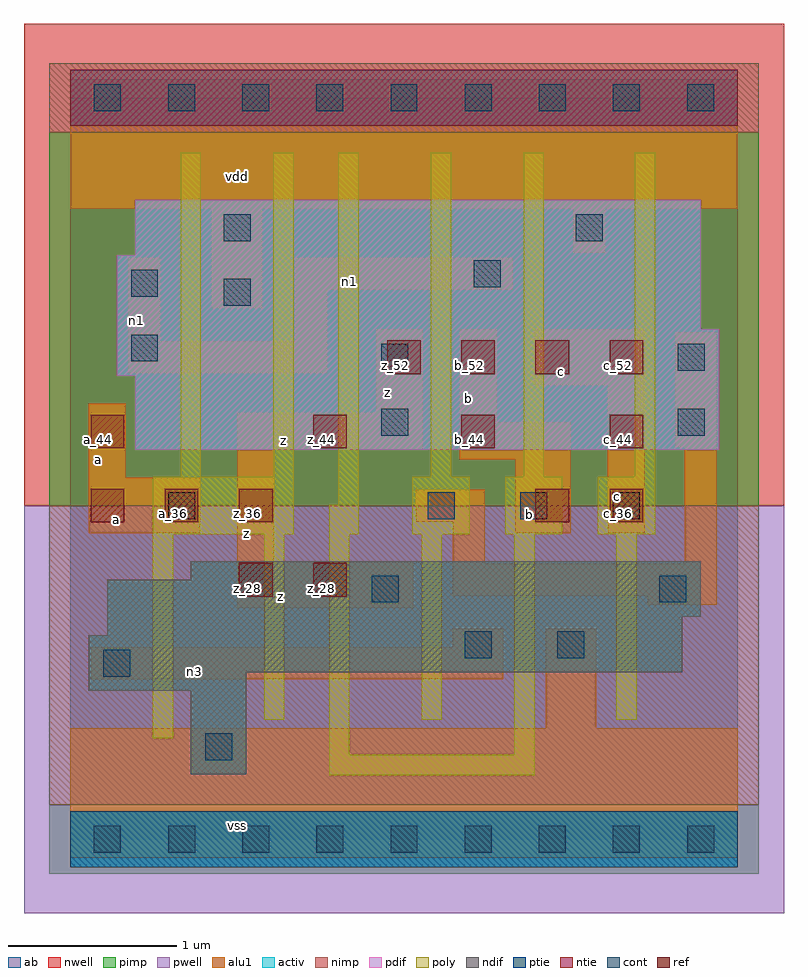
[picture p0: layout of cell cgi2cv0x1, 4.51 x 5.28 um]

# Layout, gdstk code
import gdstk
lib = gdstk.Library(unit=1e-6, precision=2.5e-09)
def R(c, l, rs):  # rectangles x0, y0, x1, y1
    for r in rs: c.add(gdstk.rectangle(r[:2], r[2:], *l))
def A(c, l, x, y, w, h, nx, ny, dx, dy):  # array of equal rectangles
    R(c, l, [(x+i*dx, y+j*dy, x+i*dx+w, y+j*dy+h) for i in range(nx) for j in range(ny)])
ndif = (3, 0)
pdif = (4, 0)
ntie = (5, 0)
ptie = (6, 0)
ref = (24, 0)
cont = (25, 0)
pwell = (41, 0)
nwell = (42, 0)
activ = (43, 0)
pimp = (44, 0)
nimp = (45, 0)
poly = (46, 0)
alu1 = (49, 0)
ab = (63, 0)

cgi2cv0x1 = lib.new_cell('cgi2cv0x1')
R(cgi2cv0x1, ndif, [(0.715,0.385,1.045,0.88), (0.11,0.88,1.045,0.99), (0.11,0.99,3.63,1.21), (0.22,1.21,3.63,1.32), (0.22,1.32,3.74,1.54), (0.715,1.54,3.74,1.65)])
R(cgi2cv0x1, pdif, [(0.385,2.31,3.85,2.75), (0.275,2.75,3.85,3.025), (0.275,3.025,3.74,3.465), (0.385,3.465,3.74,3.795)])
R(cgi2cv0x1, ntie, [(0,4.235,3.96,4.565)])
R(cgi2cv0x1, ptie, [(0,-0.165,3.96,0.165)])
A(cgi2cv0x1, ref, 0.12, 1.88, 0.2, 0.2, 3, 1, 0.44, 0)
A(cgi2cv0x1, ref, 1.44, 2.32, 0.2, 0.2, 3, 1, 0.88, 0)
A(cgi2cv0x1, ref, 1.88, 2.76, 0.2, 0.2, 4, 1, 0.44, 0)
R(cgi2cv0x1, ref, [(1,1.44,1.2,1.64), (1.44,1.44,1.64,1.64), (2.76,1.88,2.96,2.08), (3.2,1.88,3.4,2.08), (0.12,2.32,0.32,2.52)])
A(cgi2cv0x1, cont, 0.14, -0.08, 0.16, 0.16, 9, 2, 0.44, 4.4)
A(cgi2cv0x1, cont, 2.12, 1.9, 0.16, 0.16, 3, 1, 0.55, 0)
R(cgi2cv0x1, cont, [(0.8,0.47,0.96,0.63), (0.195,0.965,0.355,1.125), (2.34,1.075,2.5,1.235), (2.89,1.075,3.05,1.235), (1.79,1.405,1.95,1.565), (3.495,1.405,3.655,1.565), (0.58,1.9,0.74,2.06), (1.845,2.395,2.005,2.555), (3.605,2.395,3.765,2.555), (1.845,2.78,2.005,2.94), (3.605,2.78,3.765,2.94), (0.36,2.835,0.52,2.995), (0.91,3.165,1.07,3.325), (0.36,3.22,0.52,3.38), (2.395,3.275,2.555,3.435), (0.91,3.55,1.07,3.71), (3,3.55,3.16,3.71)])
R(cgi2cv0x1, pwell, [(-0.275,-0.44,4.235,1.98)])
R(cgi2cv0x1, nwell, [(-0.275,1.98,4.235,4.84)])
R(cgi2cv0x1, activ, [(0,-0.165,3.96,0.165), (0.715,0.385,1.045,0.88), (0.11,0.88,1.045,0.99), (0.11,0.99,3.63,1.21), (0.22,1.21,3.63,1.32), (0.22,1.32,3.74,1.54), (0.715,1.54,3.74,1.65), (0.385,2.31,3.85,2.75), (0.275,2.75,3.85,3.025), (0.275,3.025,3.74,3.465), (0.385,3.465,3.74,3.795), (0,4.235,3.96,4.565)])
R(cgi2cv0x1, pimp, [(-0.125,-0.205,4.085,0.205), (-0.125,1.98,4.085,4.195)])
R(cgi2cv0x1, nimp, [(-0.125,0.205,4.085,1.98), (-0.125,4.195,4.085,4.605)])
A(cgi2cv0x1, poly, 2.03, 1.81, 0.34, 0.34, 3, 1, 0.55, 0)
R(cgi2cv0x1, poly, [(1.535,0.38,2.755,0.5), (1.535,0.5,1.655,1.81), (2.635,0.5,2.755,1.81), (0.49,0.6,0.61,1.81), (1.15,0.71,1.27,1.81), (2.085,0.71,2.205,1.81), (3.24,0.71,3.36,1.81), (0.49,1.81,1.325,2.15), (1.535,1.81,1.71,1.985), (1.59,1.985,1.71,4.075), (0.655,2.15,0.775,4.075), (1.205,2.15,1.325,4.075), (2.14,2.15,2.26,4.075), (2.69,2.15,2.81,4.075), (3.35,2.15,3.47,4.075)])
R(cgi2cv0x1, alu1, [(0,-0.11,3.96,0.66), (2.82,0.66,3.12,1.25), (0.125,0.95,2.57,1.14), (2.27,1.14,2.57,1.25), (0.99,1.375,2.035,1.65), (3.425,1.39,3.835,1.445), (2.27,1.445,3.835,1.635), (2.27,1.635,2.46,1.885), (3.645,1.635,3.835,2.325), (0.99,1.65,1.21,2.31), (0.11,1.815,0.77,2.145), (2.64,1.815,2.97,2.255), (3.19,1.815,3.41,2.695), (2.05,1.885,2.46,2.075), (0.11,2.145,0.33,2.585), (2.31,2.255,2.97,2.475), (0.99,2.31,2.09,2.53), (3.59,2.325,3.835,3.01), (2.31,2.475,2.53,3.025), (1.815,2.53,2.09,3.025), (2.75,2.695,3.41,3.025), (0.345,2.765,1.525,2.955), (0.345,2.955,0.535,3.45), (1.335,2.955,1.525,3.26), (0.84,3.15,1.14,3.74), (1.335,3.26,2.625,3.45), (2.985,3.48,3.175,3.74), (0,3.74,3.96,4.51)])
R(cgi2cv0x1, ab, [(0,0,3.96,4.4)])
cgi2cv0x1.add(gdstk.Label('vss', (0.99,0.0825), layer=49, texttype=0))
cgi2cv0x1.add(gdstk.Label('n3', (0.735,0.9975), layer=49, texttype=0))
cgi2cv0x1.add(gdstk.Label('c', (3.245,2.035), layer=49, texttype=0))
cgi2cv0x1.add(gdstk.Label('b', (2.7225,1.925), layer=49, texttype=0))
cgi2cv0x1.add(gdstk.Label('z', (1.25,1.4425), layer=49, texttype=0))
cgi2cv0x1.add(gdstk.Label('z', (1.045,1.815), layer=49, texttype=0))
cgi2cv0x1.add(gdstk.Label('a', (0.275,1.8975), layer=49, texttype=0))
cgi2cv0x1.add(gdstk.Label('c', (2.915,2.7775), layer=49, texttype=0))
cgi2cv0x1.add(gdstk.Label('b', (2.365,2.6125), layer=49, texttype=0))
cgi2cv0x1.add(gdstk.Label('z', (1.265,2.365), layer=49, texttype=0))
cgi2cv0x1.add(gdstk.Label('z', (1.8825,2.6525), layer=49, texttype=0))
cgi2cv0x1.add(gdstk.Label('a', (0.165,2.255), layer=49, texttype=0))
cgi2cv0x1.add(gdstk.Label('n1', (1.6575,3.3075), layer=49, texttype=0))
cgi2cv0x1.add(gdstk.Label('n1', (0.3925,3.0775), layer=49, texttype=0))
cgi2cv0x1.add(gdstk.Label('vdd', (0.99,3.9325), layer=49, texttype=0))
cgi2cv0x1.add(gdstk.Label('c_52', (2.81,2.81), layer=24, texttype=0))
cgi2cv0x1.add(gdstk.Label('c_52', (3.25,2.81), layer=24, texttype=0))
cgi2cv0x1.add(gdstk.Label('c_44', (3.25,2.37), layer=24, texttype=0))
cgi2cv0x1.add(gdstk.Label('b_44', (2.37,2.37), layer=24, texttype=0))
cgi2cv0x1.add(gdstk.Label('c_36', (3.25,1.93), layer=24, texttype=0))
cgi2cv0x1.add(gdstk.Label('a_36', (0.61,1.93), layer=24, texttype=0))
cgi2cv0x1.add(gdstk.Label('z_28', (1.05,1.49), layer=24, texttype=0))
cgi2cv0x1.add(gdstk.Label('z_36', (1.05,1.93), layer=24, texttype=0))
cgi2cv0x1.add(gdstk.Label('z_28', (1.49,1.49), layer=24, texttype=0))
cgi2cv0x1.add(gdstk.Label('z_44', (1.49,2.37), layer=24, texttype=0))
cgi2cv0x1.add(gdstk.Label('z_52', (1.93,2.81), layer=24, texttype=0))
cgi2cv0x1.add(gdstk.Label('a_36', (0.17,1.93), layer=24, texttype=0))
cgi2cv0x1.add(gdstk.Label('a_44', (0.17,2.37), layer=24, texttype=0))
cgi2cv0x1.add(gdstk.Label('b_52', (2.37,2.81), layer=24, texttype=0))
cgi2cv0x1.add(gdstk.Label('b_36', (2.81,1.93), layer=24, texttype=0))

lib.write_gds('cgi2cv0x1.gds')
